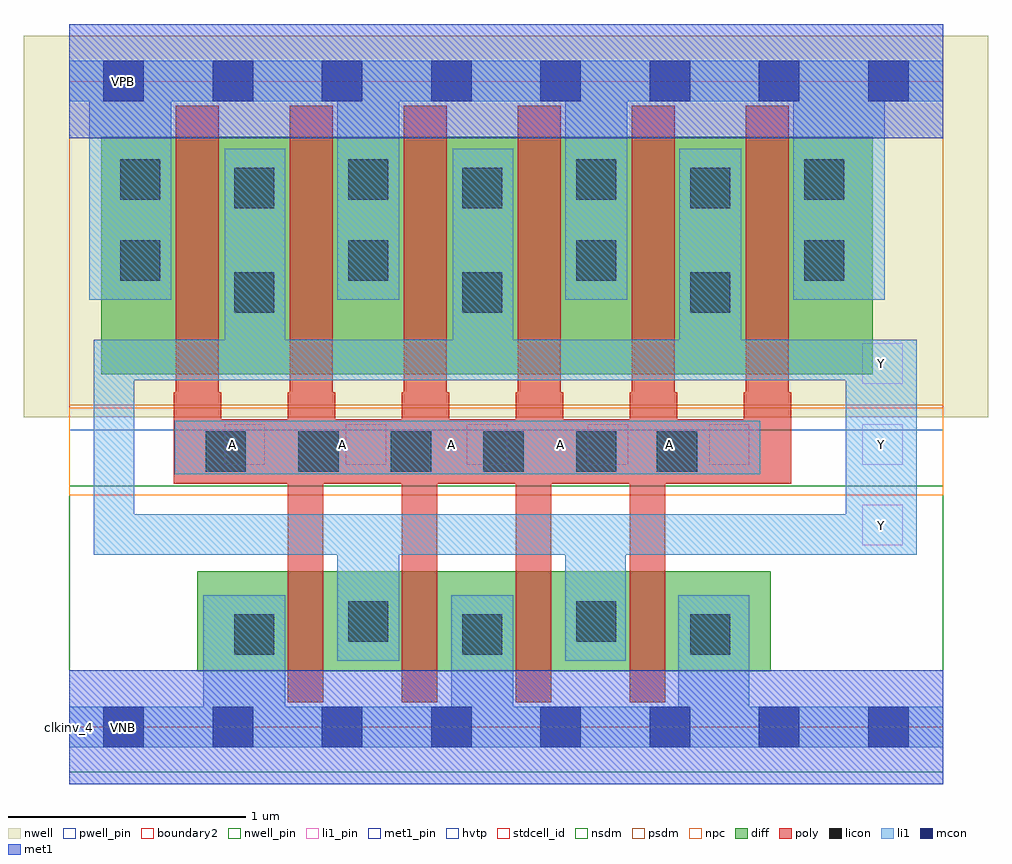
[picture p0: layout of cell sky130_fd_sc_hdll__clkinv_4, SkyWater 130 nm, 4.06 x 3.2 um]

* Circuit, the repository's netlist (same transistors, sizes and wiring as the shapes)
* Copyright 2020 The SkyWater PDK Authors
*
* Licensed under the Apache License, Version 2.0 (the "License");
* you may not use this file except in compliance with the License.
* You may obtain a copy of the License at
*
*     https://www.apache.org/licenses/LICENSE-2.0
*
* Unless required by applicable law or agreed to in writing, software
* distributed under the License is distributed on an "AS IS" BASIS,
* WITHOUT WARRANTIES OR CONDITIONS OF ANY KIND, either express or implied.
* See the License for the specific language governing permissions and
* limitations under the License.
*
* SPDX-License-Identifier: Apache-2.0

.SUBCKT sky130_fd_sc_hdll__clkinv_4 A VGND VNB VPB VPWR Y
*.PININFO A:I VGND:I VNB:I VPB:I VPWR:I Y:O
MMIN0 Y A VGND VNB sky130_fd_pr__nfet_01v8 m=4 w=0.42U l=0.15U mult=1 sa=0.265
+ sb=0.265 sd=0.28 area=0.063 perim=1.14
MMIP0 Y A VPWR VPB sky130_fd_pr__pfet_01v8_hvt m=6 w=1.0U l=0.18U mult=1 sa=0.265
+ sb=0.265 sd=0.28 area=0.063 perim=1.14
.ENDS sky130_fd_sc_hdll__clkinv_4

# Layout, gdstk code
import gdstk
lib = gdstk.Library(unit=1e-6, precision=1e-09)
def R(c, l, rs):  # rectangles x0, y0, x1, y1
    for r in rs: c.add(gdstk.rectangle(r[:2], r[2:], *l))
def A(c, l, x, y, w, h, nx, ny, dx, dy):  # array of equal rectangles
    R(c, l, [(x+i*dx, y+j*dy, x+i*dx+w, y+j*dy+h) for i in range(nx) for j in range(ny)])
def P(c, l, *ps):  # polygons
    for p in ps: c.add(gdstk.Polygon(p, *l))
nwell_pin = (64, 16)
nwell = (64, 20)
diff = (65, 20)
poly = (66, 20)
licon = (66, 44)
li1_pin = (67, 16)
li1 = (67, 20)
mcon = (67, 44)
met1_pin = (68, 16)
met1 = (68, 20)
hvtp = (78, 44)
stdcell_id = (81, 4)
nsdm = (93, 44)
psdm = (94, 20)
npc = (95, 20)
pwell_pin = (122, 16)
boundary2 = (236, 0)

sky130_fd_sc_hdll__clkin = lib.new_cell('sky130_fd_sc_hdll__clkinv_4')
R(sky130_fd_sc_hdll__clkin, nwell_pin, [(0.145,2.635,0.315,2.805)])
R(sky130_fd_sc_hdll__clkin, nwell, [(-0.19,1.305,3.87,2.91)])
R(sky130_fd_sc_hdll__clkin, diff, [(0.54,0.235,2.955,0.655), (0.135,1.485,3.385,2.485)])
P(sky130_fd_sc_hdll__clkin, poly, [(3.04,1.41),(3.03,1.41),(3.03,2.615),(2.85,2.615),(2.85,1.41),(2.84,1.41),(2.84,1.295),(2.56,1.295),(2.56,1.41),(2.55,1.41),(2.55,2.615),(2.37,2.615),(2.37,1.41),(2.36,1.41),(2.36,1.295),(2.08,1.295),(2.08,1.41),(2.07,1.41),(2.07,2.615),(1.89,2.615),(1.89,1.41),(1.88,1.41),(1.88,1.295),(1.6,1.295),(1.6,1.41),(1.59,1.41),(1.59,2.615),(1.41,2.615),(1.41,1.41),(1.4,1.41),(1.4,1.295),(1.12,1.295),(1.12,1.41),(1.11,1.41),(1.11,2.615),(0.93,2.615),(0.93,1.41),(0.92,1.41),(0.92,1.295),(0.64,1.295),(0.64,1.41),(0.63,1.41),(0.63,2.615),(0.45,2.615),(0.45,1.41),(0.44,1.41),(0.44,1.025),(0.92,1.025),(0.92,0.105),(1.07,0.105),(1.07,1.025),(1.4,1.025),(1.4,0.105),(1.55,0.105),(1.55,1.025),(1.88,1.025),(1.88,0.105),(2.03,0.105),(2.03,1.025),(2.36,1.025),(2.36,0.105),(2.51,0.105),(2.51,1.025),(3.04,1.025)])
A(sky130_fd_sc_hdll__clkin, licon, 0.695, 0.305, 0.17, 0.17, 3, 2, 0.96, 1.44)
A(sky130_fd_sc_hdll__clkin, licon, 0.575, 1.075, 0.17, 0.17, 5, 1, 0.39, 0)
A(sky130_fd_sc_hdll__clkin, licon, 0.215, 1.88, 0.17, 0.17, 4, 2, 0.96, 0.34)
A(sky130_fd_sc_hdll__clkin, licon, 0.695, 2.185, 0.17, 0.17, 3, 1, 0.96, 0)
R(sky130_fd_sc_hdll__clkin, licon, [(1.175,0.36,1.345,0.53), (2.135,0.36,2.305,0.53), (2.475,1.075,2.645,1.245)])
A(sky130_fd_sc_hdll__clkin, li1_pin, 3.34, 0.765, 0.17, 0.17, 1, 3, 0, 0.34)
A(sky130_fd_sc_hdll__clkin, li1_pin, 0.655, 1.105, 0.17, 0.17, 5, 1, 0.51, 0)
R(sky130_fd_sc_hdll__clkin, li1, [(0.445,1.065,2.91,1.29)])
P(sky130_fd_sc_hdll__clkin, li1, [(3.68,0.085),(2.865,0.085),(2.865,0.555),(2.565,0.555),(2.565,0.085),(1.87,0.085),(1.87,0.555),(1.61,0.555),(1.61,0.085),(0.91,0.085),(0.91,0.555),(0.565,0.555),(0.565,0.085),(0,0.085),(0,-0.085),(3.68,-0.085)],
  [(3.68,2.805),(0,2.805),(0,2.635),(0.085,2.635),(0.085,1.8),(0.43,1.8),(0.43,2.635),(1.13,2.635),(1.13,1.8),(1.39,1.8),(1.39,2.635),(2.09,2.635),(2.09,1.8),(2.35,1.8),(2.35,2.635),(3.05,2.635),(3.05,1.8),(3.435,1.8),(3.435,2.635),(3.68,2.635)],
  [(3.57,1.63),(3.27,1.63),(3.27,0.895),(0.275,0.895),(0.275,1.46),(3.27,1.46),(3.27,1.63),(2.83,1.63),(2.83,2.435),(2.57,2.435),(2.57,1.63),(1.87,1.63),(1.87,2.435),(1.615,2.435),(1.615,1.63),(0.91,1.63),(0.91,2.435),(0.655,2.435),(0.655,1.63),(0.105,1.63),(0.105,0.725),(1.13,0.725),(1.13,0.28),(1.39,0.28),(1.39,0.725),(2.09,0.725),(2.09,0.28),(2.345,0.28),(2.345,0.725),(3.57,0.725)])
A(sky130_fd_sc_hdll__clkin, mcon, 0.145, -0.085, 0.17, 0.17, 8, 2, 0.46, 2.72)
R(sky130_fd_sc_hdll__clkin, met1_pin, [(0.145,-0.085,0.315,0.085), (0.145,2.635,0.315,2.805)])
R(sky130_fd_sc_hdll__clkin, met1, [(0,-0.24,3.68,0.24), (0,2.48,3.68,2.96)])
R(sky130_fd_sc_hdll__clkin, hvtp, [(0,1.25,3.68,2.72)])
R(sky130_fd_sc_hdll__clkin, stdcell_id, [(0,0,3.68,2.72)])
R(sky130_fd_sc_hdll__clkin, nsdm, [(0,-0.19,3.68,1.015)])
R(sky130_fd_sc_hdll__clkin, psdm, [(0,1.355,3.68,2.91)])
R(sky130_fd_sc_hdll__clkin, npc, [(0,0.975,3.68,1.345)])
R(sky130_fd_sc_hdll__clkin, pwell_pin, [(0.145,-0.085,0.315,0.085)])
R(sky130_fd_sc_hdll__clkin, boundary2, [(0,0,3.68,2.72)])
sky130_fd_sc_hdll__clkin.add(gdstk.Label('A', (1.15,1.19), layer=67, texttype=5))
sky130_fd_sc_hdll__clkin.add(gdstk.Label('A', (1.61,1.19), layer=67, texttype=5))
sky130_fd_sc_hdll__clkin.add(gdstk.Label('Y', (3.42,0.85), layer=67, texttype=5))
sky130_fd_sc_hdll__clkin.add(gdstk.Label('A', (0.69,1.19), layer=67, texttype=5))
sky130_fd_sc_hdll__clkin.add(gdstk.Label('Y', (3.42,1.53), layer=67, texttype=5))
sky130_fd_sc_hdll__clkin.add(gdstk.Label('A', (2.53,1.19), layer=67, texttype=5))
sky130_fd_sc_hdll__clkin.add(gdstk.Label('A', (2.07,1.19), layer=67, texttype=5))
sky130_fd_sc_hdll__clkin.add(gdstk.Label('Y', (3.42,1.19), layer=67, texttype=5))
sky130_fd_sc_hdll__clkin.add(gdstk.Label('VNB', (0.23,0), layer=64, texttype=59))
sky130_fd_sc_hdll__clkin.add(gdstk.Label('VPB', (0.23,2.72), layer=64, texttype=5))
sky130_fd_sc_hdll__clkin.add(gdstk.Label('VPWR', (0.23,2.72), layer=68, texttype=5))
sky130_fd_sc_hdll__clkin.add(gdstk.Label('VGND', (0.23,0), layer=68, texttype=5))
sky130_fd_sc_hdll__clkin.add(gdstk.Label('clkinv_4', (0,0), layer=83, texttype=44))

lib.write_gds('sky130_fd_sc_hdll__clkinv_4.gds')
